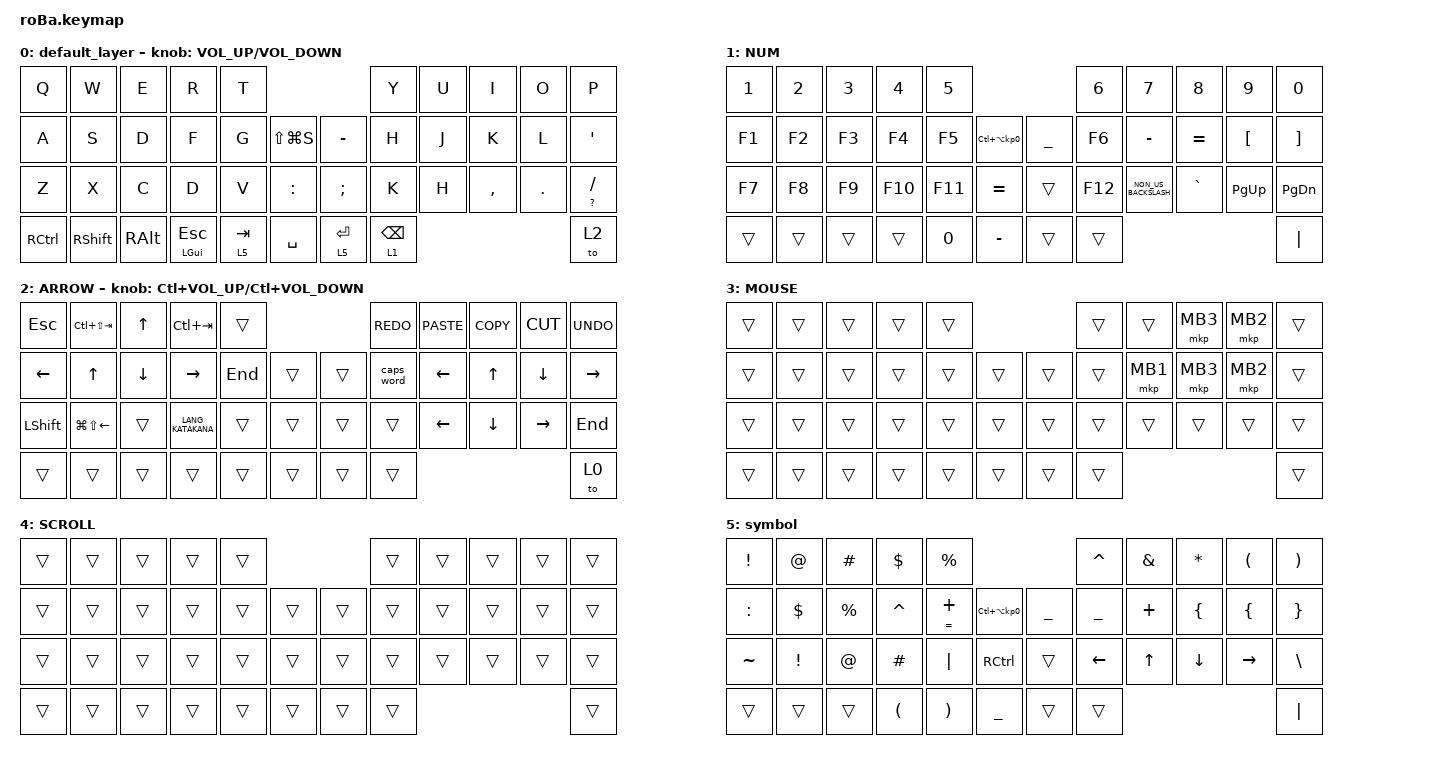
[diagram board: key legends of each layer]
#include <behaviors.dtsi>
#include <dt-bindings/zmk/keys.h>
#include <dt-bindings/zmk/pointing.h>

#define MOUSE 4
#define SCROLL 5
#define NUM 6

&mt {
    flavor = "balanced";
    quick-tap-ms = <0>;
};

/ {
    combos {
        compatible = "zmk,combos";

        tab {
            bindings = <&kp TAB>;
            key-positions = <2 3>;
        };

        shift_tab {
            bindings = <&kp LS(TAB)>;
            key-positions = <2 3 4>;
        };

        Toggle_Scroll {
            bindings = <&tog 4>;
            key-positions = <31 32>;
        };

        backspace {
            bindings = <&kp BACKSPACE>;
            key-positions = <17 18>;
        };

        return {
            bindings = <&kp RET>;
            key-positions = <29 30>;
        };

        space {
            bindings = <&kp SPACE>;
            key-positions = <13 14>;
        };
    };

    macros {
        to_layer_0: to_layer_0 {
            compatible = "zmk,behavior-macro-one-param";
            #binding-cells = <1>;
            bindings = <&to 0 &macro_param_1to1 &kp MACRO_PLACEHOLDER>;
            label = "TO_LAYER_0";
        };
    };

    behaviors {
        lt_to_layer_0: lt_to_layer_0 {
            compatible = "zmk,behavior-hold-tap";
            label = "LAYER_TAP_TO_0";
            bindings = <&mo>, <&to_layer_0>;

            #binding-cells = <2>;
            tapping-term-ms = <200>;
        };
    };

    keymap {
        compatible = "zmk,keymap";

        default_layer {
            bindings = <
&kp Q              &kp W            &kp E          &kp R                &kp T                                        &kp Y            &kp U  &kp I      &kp O    &kp P
&kp A              &kp S            &kp D          &kp F                &kp G      &kp LS(LG(S))      &kp MINUS      &kp H            &kp J  &kp K      &kp L    &kp SQT
&kp Z              &kp X            &kp C          &kp D                &kp V      &kp COLON          &kp SEMICOLON  &kp K            &kp H  &kp COMMA  &kp DOT  &mt QUESTION SLASH
&kp RIGHT_CONTROL  &kp RIGHT_SHIFT  &kp RIGHT_ALT  &mt LEFT_GUI ESCAPE  &lt 5 TAB  &kp SPACE          &lt 5 ENTER    &lt 1 BACKSPACE                             &to 2
            >;

            sensor-bindings = <&inc_dec_kp C_VOLUME_UP C_VOLUME_DOWN>;
        };

        NUM {
            bindings = <
&kp NUMBER_1  &kp NUMBER_2  &kp NUMBER_3  &kp NUMBER_4  &kp N5                                                     &kp NUMBER_6  &kp N7                &kp N8     &kp NUMBER_9      &kp NUMBER_0
&kp F1        &kp F2        &kp F3        &kp F4        &kp F5        &kp LC(LA(KP_NUMBER_0))      &kp UNDERSCORE  &kp F6        &kp MINUS             &kp EQUAL  &kp LEFT_BRACKET  &kp RIGHT_BRACKET
&kp F7        &kp F8        &kp F9        &kp F10       &kp F11       &kp EQUAL                    &trans          &kp F12       &kp NON_US_BACKSLASH  &kp GRAVE  &kp PAGE_UP       &kp PAGE_DOWN
&trans        &trans        &trans        &trans        &kp NUMBER_0  &kp MINUS                    &trans          &trans                                                           &kp PIPE
            >;
        };

        ARROW {
            bindings = <
&kp ESCAPE      &kp LC(LS(TAB))         &kp UP_ARROW    &kp LC(TAB)        &trans                       &kp K_REDO  &kp K_PASTE     &kp K_COPY      &kp K_CUT        &kp K_UNDO
&kp LEFT_ARROW  &kp UP_ARROW            &kp DOWN_ARROW  &kp RIGHT_ARROW    &kp END  &trans      &trans  &caps_word  &kp LEFT_ARROW  &kp UP_ARROW    &kp DOWN_ARROW   &kp RIGHT_ARROW
&kp LEFT_SHIFT  &kp LG(LS(LEFT_ARROW))  &trans          &kp LANG_KATAKANA  &trans   &trans      &trans  &trans      &kp LEFT_ARROW  &kp DOWN_ARROW  &kp RIGHT_ARROW  &kp END
&trans          &trans                  &trans          &trans             &trans   &trans      &trans  &trans                                                       &to 0
            >;

            sensor-bindings = <&inc_dec_kp LC(C_VOLUME_UP) LC(C_VOLUME_DOWN)>;
        };

        MOUSE {
            bindings = <
&trans  &trans  &trans  &trans  &trans                      &trans  &trans    &mkp MB3  &mkp MB2  &trans
&trans  &trans  &trans  &trans  &trans  &trans      &trans  &trans  &mkp MB1  &mkp MB3  &mkp MB2  &trans
&trans  &trans  &trans  &trans  &trans  &trans      &trans  &trans  &trans    &trans    &trans    &trans
&trans  &trans  &trans  &trans  &trans  &trans      &trans  &trans                                &trans
            >;
        };

        SCROLL {
            bindings = <
&trans  &trans  &trans  &trans  &trans                      &trans  &trans  &trans  &trans  &trans
&trans  &trans  &trans  &trans  &trans  &trans      &trans  &trans  &trans  &trans  &trans  &trans
&trans  &trans  &trans  &trans  &trans  &trans      &trans  &trans  &trans  &trans  &trans  &trans
&trans  &trans  &trans  &trans  &trans  &trans      &trans  &trans                          &trans
            >;
        };

        symbol {
            bindings = <
&kp EXCLAMATION  &kp AT_SIGN      &kp POUND    &kp DOLLAR            &kp PERCENT                                                         &kp CARET       &kp AMPERSAND  &kp ASTERISK    &kp LEFT_PARENTHESIS  &kp RIGHT_PARENTHESIS
&kp COLON        &kp DOLLAR       &kp PERCENT  &kp CARET             &mt EQUAL PLUS         &kp LC(LA(KP_NUMBER_0))      &kp UNDERSCORE  &kp UNDERSCORE  &kp PLUS       &kp LEFT_BRACE  &kp LEFT_BRACE        &kp RIGHT_BRACE
&kp TILDE        &kp EXCLAMATION  &kp AT       &kp HASH              &kp PIPE               &kp RCTRL                    &trans          &kp LEFT        &kp UP_ARROW   &kp DOWN_ARROW  &kp RIGHT             &kp BACKSLASH
&trans           &trans           &trans       &kp LEFT_PARENTHESIS  &kp RIGHT_PARENTHESIS  &kp UNDER                    &trans          &trans                                                               &kp PIPE
            >;
        };
    };
};
